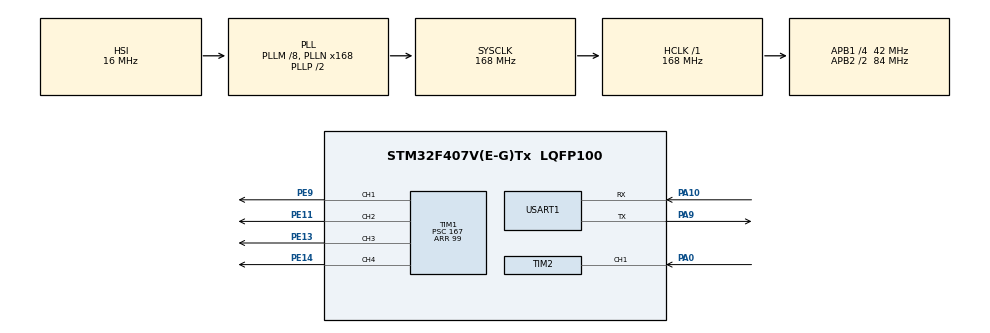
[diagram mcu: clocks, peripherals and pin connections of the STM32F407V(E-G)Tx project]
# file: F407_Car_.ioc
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Mcu.Family=STM32F4
Mcu.Name=STM32F407V(E-G)Tx
Mcu.Package=LQFP100
NVIC.PriorityGroup=NVIC_PRIORITYGROUP_4
NVIC.TIM2_IRQn=true\:0\:0\:false\:false\:true\:true\:true
PA0-WKUP.Signal=S_TIM2_CH1_ETR
PA10.Mode=Asynchronous
PA10.Signal=USART1_RX
PA13.Mode=Trace_Asynchronous_SW
PA13.Signal=SYS_JTMS-SWDIO
PA14.Mode=Trace_Asynchronous_SW
PA14.Signal=SYS_JTCK-SWCLK
PA9.Mode=Asynchronous
PA9.Signal=USART1_TX
PB3.Mode=Trace_Asynchronous_SW
PB3.Signal=SYS_JTDO-SWO
PE11.Signal=S_TIM1_CH2
PE13.Signal=S_TIM1_CH3
PE14.Signal=S_TIM1_CH4
PE9.Signal=S_TIM1_CH1
PH0-OSC_IN.Mode=HSE-External-Oscillator
PH0-OSC_IN.Signal=RCC_OSC_IN
PH1-OSC_OUT.Mode=HSE-External-Oscillator
PH1-OSC_OUT.Signal=RCC_OSC_OUT
ProjectManager.HeapSize=0x200
ProjectManager.StackSize=0x400
ProjectManager.TargetToolchain=EWARM V8.32
RCC.48MHZClocksFreq_Value=84000000
RCC.AHBFreq_Value=168000000
RCC.APB1CLKDivider=RCC_HCLK_DIV4
RCC.APB1Freq_Value=42000000
RCC.APB1TimFreq_Value=84000000
RCC.APB2CLKDivider=RCC_HCLK_DIV2
RCC.APB2Freq_Value=84000000
RCC.APB2TimFreq_Value=168000000
RCC.CortexFreq_Value=168000000
RCC.HCLKFreq_Value=168000000
RCC.HSE_VALUE=25000000
RCC.HSI_VALUE=16000000
RCC.LSE_VALUE=32768
RCC.PLLM=8
RCC.PLLN=168
RCC.SYSCLKFreq_VALUE=168000000
RCC.SYSCLKSource=RCC_SYSCLKSOURCE_PLLCLK
RCC.VCOOutputFreq_Value=336000000
SH.S_TIM1_CH1.0=TIM1_CH1,PWM Generation1 CH1
SH.S_TIM1_CH2.0=TIM1_CH2,PWM Generation2 CH2
SH.S_TIM1_CH3.0=TIM1_CH3,PWM Generation3 CH3
SH.S_TIM1_CH4.0=TIM1_CH4,PWM Generation4 CH4
SH.S_TIM2_CH1_ETR.0=TIM2_CH1,Input_Capture1_from_TI1
SH.S_TIM2_CH1_ETR.1=TIM2_CH1,TriggerSource_TI1FP1
SH.S_TIM2_CH1_ETR.2=TIM2_CH1,Input_Capture2_from_TI1
TIM1.Channel-PWM\ Generation1\ CH1=TIM_CHANNEL_1
TIM1.Channel-PWM\ Generation2\ CH2=TIM_CHANNEL_2
TIM1.Channel-PWM\ Generation3\ CH3=TIM_CHANNEL_3
TIM1.Channel-PWM\ Generation4\ CH4=TIM_CHANNEL_4
TIM1.OCIdleState_1=TIM_OCIDLESTATE_SET
TIM1.OCIdleState_2=TIM_OCIDLESTATE_SET
TIM1.OCIdleState_3=TIM_OCIDLESTATE_SET
TIM1.Period=99
TIM1.Prescaler=167
TIM2.Channel-Input_Capture1_from_TI1=TIM_CHANNEL_1
TIM2.Channel-Input_Capture2_from_TI1=TIM_CHANNEL_2
TIM2.ICPolarity_CH2=TIM_INPUTCHANNELPOLARITY_FALLING
TIM2.Prescaler=84-1
USART1.VirtualMode=VM_ASYNC
VP_TIM1_VS_ClockSourceINT.Mode=Internal
VP_TIM2_VS_ClockSourceINT.Mode=Internal
VP_TIM2_VS_ControllerModeReset.Mode=Reset Mode
board=custom

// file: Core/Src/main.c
/* USER CODE BEGIN Header */
/**
  ******************************************************************************
  * @file           : main.c
  * @brief          : Main program body
  ******************************************************************************
  * @attention
  *
  * <h2><center>&copy; Copyright (c) 2020 STMicroelectronics.
  * All rights reserved.</center></h2>
  *
  * This software component is licensed by ST under BSD 3-Clause license,
  * the "License"; You may not use this file except in compliance with the
  * License. You may obtain a copy of the License at:
  *                        opensource.org/licenses/BSD-3-Clause
  *
  ******************************************************************************
  */
/* USER CODE END Header */
#include "main.h"
#include "tim.h"
#include "usart.h"
#include "gpio.h"

/* USER CODE BEGIN Includes */
#include "bsp_PID.h"
/* USER CODE END Includes */

/* USER CODE BEGIN PTD */
__IO uint16_t IC2Value = 0;
__IO uint16_t IC1Value = 0;
__IO float DutyCycle = 0;
__IO float Frequency = 0;
/* USER CODE END PTD */

void SystemClock_Config(void);

int main(void)
{

  /* MCU Configuration--------------------------------------------------------*/

  /* Reset of all peripherals, Initializes the Flash interface and the Systick. */
  HAL_Init();

  /* Configure the system clock */
  SystemClock_Config();

  /* Initialize all configured peripherals */
  MX_GPIO_Init();
  MX_TIM1_Init();
  MX_TIM2_Init();
  MX_USART1_UART_Init();
  /* USER CODE BEGIN 2 */
    HAL_TIM_PWM_Start(&htim1,TIM_CHANNEL_1);
    HAL_TIM_PWM_Start(&htim1,TIM_CHANNEL_2);
    HAL_TIM_PWM_Start(&htim1,TIM_CHANNEL_3);
    HAL_TIM_PWM_Start(&htim1,TIM_CHANNEL_4);
    __HAL_TIM_SetCompare(&htim1,TIM_CHANNEL_1,50);
    __HAL_TIM_SetCompare(&htim1,TIM_CHANNEL_2,50);
    __HAL_TIM_SetCompare(&htim1,TIM_CHANNEL_3,50);
    __HAL_TIM_SetCompare(&htim1,TIM_CHANNEL_4,50);
//输入捕获
    HAL_TIM_IC_Start_IT(&htim2,TIM_CHANNEL_1);
    HAL_TIM_IC_Start_IT(&htim2,TIM_CHANNEL_2);

  /* USER CODE END 2 */

  /* Infinite loop */
  while (1)
  {

  }
}

void SystemClock_Config(void)
{
  RCC_OscInitTypeDef RCC_OscInitStruct = {0};
  RCC_ClkInitTypeDef RCC_ClkInitStruct = {0};

  /** Configure the main internal regulator output voltage
  */
  __HAL_RCC_PWR_CLK_ENABLE();
  __HAL_PWR_VOLTAGESCALING_CONFIG(PWR_REGULATOR_VOLTAGE_SCALE1);
  /** Initializes the RCC Oscillators according to the specified parameters
  * in the RCC_OscInitTypeDef structure.
  */
  RCC_OscInitStruct.OscillatorType = RCC_OSCILLATORTYPE_HSI;
  RCC_OscInitStruct.HSIState = RCC_HSI_ON;
  RCC_OscInitStruct.HSICalibrationValue = RCC_HSICALIBRATION_DEFAULT;
  RCC_OscInitStruct.PLL.PLLState = RCC_PLL_ON;
  RCC_OscInitStruct.PLL.PLLSource = RCC_PLLSOURCE_HSI;
  RCC_OscInitStruct.PLL.PLLM = 8;
  RCC_OscInitStruct.PLL.PLLN = 168;
  RCC_OscInitStruct.PLL.PLLP = RCC_PLLP_DIV2;
  RCC_OscInitStruct.PLL.PLLQ = 4;
  if (HAL_RCC_OscConfig(&RCC_OscInitStruct) != HAL_OK)
  {
    Error_Handler();
  }
  /** Initializes the CPU, AHB and APB buses clocks
  */
  RCC_ClkInitStruct.ClockType = RCC_CLOCKTYPE_HCLK|RCC_CLOCKTYPE_SYSCLK
                              |RCC_CLOCKTYPE_PCLK1|RCC_CLOCKTYPE_PCLK2;
  RCC_ClkInitStruct.SYSCLKSource = RCC_SYSCLKSOURCE_PLLCLK;
  RCC_ClkInitStruct.AHBCLKDivider = RCC_SYSCLK_DIV1;
  RCC_ClkInitStruct.APB1CLKDivider = RCC_HCLK_DIV4;
  RCC_ClkInitStruct.APB2CLKDivider = RCC_HCLK_DIV2;

  if (HAL_RCC_ClockConfig(&RCC_ClkInitStruct, FLASH_LATENCY_5) != HAL_OK)
  {
    Error_Handler();
  }
}

/* USER CODE BEGIN 4 */

void HAL_TIM_IC_CaptureCallback(TIM_HandleTypeDef *htim)
{
  if (htim->Channel == HAL_TIM_ACTIVE_CHANNEL_1)
  {
	  /* 获取输入捕获值 */
	  IC1Value = HAL_TIM_ReadCapturedValue(&htim2,TIM_CHANNEL_1);
	  IC2Value = HAL_TIM_ReadCapturedValue(&htim2,TIM_CHANNEL_2);
	  if (IC1Value != 0)
	  {
		/* 占空比计算 */
		DutyCycle = (float)((IC2Value+1) * 100) / (IC1Value+1);

		/* 频率计算 */
		Frequency = 84000000/84/(float)(IC1Value+1);
		printf("DutyCycle = %lf  Frequency = %lf ",DutyCycle,Frequency);
	  }
	  else
	  {
		DutyCycle = 0;
		Frequency = 0;
	  }

  }
}
/* USER CODE END 4 */

void Error_Handler(void)
{
}

/************************ (C) COPYRIGHT STMicroelectronics *****END OF FILE****/
